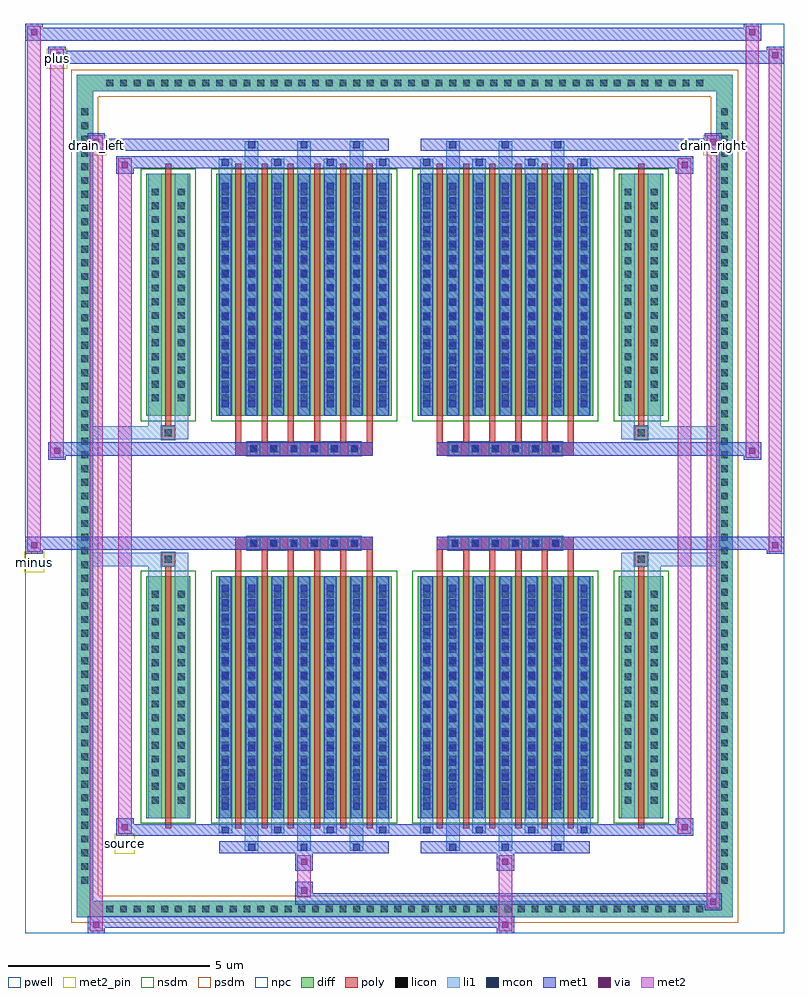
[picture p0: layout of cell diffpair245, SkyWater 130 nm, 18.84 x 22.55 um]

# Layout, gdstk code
import gdstk
lib = gdstk.Library(unit=1e-6, precision=5e-09)
def R(c, l, rs):  # rectangles x0, y0, x1, y1
    for r in rs: c.add(gdstk.rectangle(r[:2], r[2:], *l))
def A(c, l, x, y, w, h, nx, ny, dx, dy):  # array of equal rectangles
    R(c, l, [(x+i*dx, y+j*dy, x+i*dx+w, y+j*dy+h) for i in range(nx) for j in range(ny)])
def P(c, l, *ps):  # polygons
    for p in ps: c.add(gdstk.Polygon(p, *l))
pwell = (64, 44)
diff = (65, 20)
poly = (66, 20)
licon = (66, 44)
li1 = (67, 20)
mcon = (67, 44)
met1 = (68, 20)
via = (68, 44)
met2_pin = (69, 16)
met2 = (69, 20)
nsdm = (93, 44)
psdm = (94, 20)
npc = (95, 20)

diffpair245 = lib.new_cell('diffpair245')
R(diffpair245, pwell, [(-9.4,-10.84,9.4,11.71), (-6.72,-9.03,-0.01,-0.805), (0.01,-9.03,6.72,-0.805), (-6.72,0.805,-0.01,9.03), (0.01,0.805,6.72,9.03)])
A(diffpair245, diff, -7.515, -10.44, 0.41, 0.41, 44, 2, 0.34, 20.47)
A(diffpair245, diff, -8.13, -9.725, 0.41, 0.41, 1, 57, 0, 0.34)
A(diffpair245, diff, 7.72, -9.725, 0.41, 0.41, 1, 57, 0, 0.34)
R(diffpair245, diff, [(-7.515,-10.44,7.515,-10.03), (-8.13,-9.725,-7.72,9.725), (7.72,-9.725,8.13,9.725), (-6.41,-7.985,-5.31,-1.985), (-4.67,-7.985,-0.32,-1.985), (0.32,-7.985,4.67,-1.985), (5.31,-7.985,6.41,-1.985), (-6.41,1.985,-5.31,7.985), (-4.67,1.985,-0.32,7.985), (0.32,1.985,4.67,7.985), (5.31,1.985,6.41,7.985), (-7.515,10.03,7.515,10.44)])
P(diffpair245, diff, [(8.13,10.44),(-8.13,10.44),(-8.13,-10.03),(-7.72,-10.03),(-7.72,10.03),(7.72,10.03),(7.72,-10.03),(-7.72,-10.03),(-8.13,-10.03),(-8.13,-10.44),(8.13,-10.44)])
A(diffpair245, poly, -4.195, -8.235, 0.15, 6.5, 6, 2, 0.65, 9.97)
A(diffpair245, poly, 0.795, -8.235, 0.15, 6.5, 6, 2, 0.65, 9.97)
A(diffpair245, poly, -4.195, -1.735, 0.15, 0.4, 6, 2, 0.65, 3.07)
A(diffpair245, poly, 0.795, -1.735, 0.15, 0.4, 6, 2, 0.65, 3.07)
A(diffpair245, poly, -3.91, -1.335, 0.33, 0.33, 6, 2, 0.5, 2.34)
A(diffpair245, poly, 1.08, -1.335, 0.33, 0.33, 6, 2, 0.5, 2.34)
R(diffpair245, poly, [(-5.935,-8.235,-5.785,-1.735), (5.785,-8.235,5.935,-1.735), (-6.025,-1.735,-5.695,-1.405), (-6.025,-1.735,-5.695,-1.405), (5.695,-1.735,6.025,-1.405), (5.695,-1.735,6.025,-1.405), (-4.195,-1.335,-0.795,-1.005), (0.795,-1.335,4.195,-1.005), (-4.195,1.005,-0.795,1.335), (0.795,1.005,4.195,1.335), (-6.025,1.405,-5.695,1.735), (-6.025,1.405,-5.695,1.735), (5.695,1.405,6.025,1.735), (5.695,1.405,6.025,1.735), (-5.935,1.735,-5.785,8.235), (5.785,1.735,5.935,8.235)])
A(diffpair245, licon, -7.395, -10.32, 0.17, 0.17, 44, 2, 0.34, 20.47)
A(diffpair245, licon, -8.01, -9.605, 0.17, 0.17, 1, 57, 0, 0.34)
A(diffpair245, licon, 7.84, -9.605, 0.17, 0.17, 1, 57, 0, 0.34)
A(diffpair245, licon, -6.27, -7.62, 0.17, 0.17, 1, 16, 0, 0.34)
A(diffpair245, licon, -5.62, -7.62, 0.17, 0.17, 1, 16, 0, 0.34)
A(diffpair245, licon, -4.53, -7.62, 0.17, 0.17, 7, 16, 0.65, 0.34)
A(diffpair245, licon, 0.46, -7.62, 0.17, 0.17, 7, 16, 0.65, 0.34)
A(diffpair245, licon, 5.45, -7.62, 0.17, 0.17, 1, 16, 0, 0.34)
A(diffpair245, licon, 6.1, -7.62, 0.17, 0.17, 1, 16, 0, 0.34)
A(diffpair245, licon, -3.83, -1.255, 0.17, 0.17, 6, 2, 0.5, 2.34)
A(diffpair245, licon, 1.16, -1.255, 0.17, 0.17, 6, 2, 0.5, 2.34)
A(diffpair245, licon, -6.27, 2.35, 0.17, 0.17, 1, 16, 0, 0.34)
A(diffpair245, licon, -5.62, 2.35, 0.17, 0.17, 1, 16, 0, 0.34)
A(diffpair245, licon, -4.53, 2.35, 0.17, 0.17, 7, 16, 0.65, 0.34)
A(diffpair245, licon, 0.46, 2.35, 0.17, 0.17, 7, 16, 0.65, 0.34)
A(diffpair245, licon, 5.45, 2.35, 0.17, 0.17, 1, 16, 0, 0.34)
A(diffpair245, licon, 6.1, 2.35, 0.17, 0.17, 1, 16, 0, 0.34)
R(diffpair245, licon, [(-5.945,-1.655,-5.775,-1.485), (5.775,-1.655,5.945,-1.485), (-5.945,1.485,-5.775,1.655), (5.775,1.485,5.945,1.655)])
A(diffpair245, li1, -7.475, -10.4, 0.33, 0.33, 44, 2, 0.34, 20.47)
A(diffpair245, li1, -8.09, -9.685, 0.33, 0.33, 1, 57, 0, 0.34)
A(diffpair245, li1, 7.76, -9.685, 0.33, 0.33, 1, 57, 0, 0.34)
A(diffpair245, li1, -3.96, -8.79, 0.33, 0.805, 3, 2, 1.3, 16.775)
A(diffpair245, li1, -3.88, -8.79, 0.17, 0.17, 3, 2, 1.3, 17.41)
A(diffpair245, li1, 1.03, -8.79, 0.33, 0.805, 3, 2, 1.3, 16.775)
A(diffpair245, li1, 1.11, -8.79, 0.17, 0.17, 3, 2, 1.3, 17.41)
A(diffpair245, li1, -4.61, -8.36, 0.33, 0.375, 4, 2, 1.3, 16.345)
A(diffpair245, li1, -4.53, -8.36, 0.17, 0.17, 4, 2, 1.3, 16.55)
A(diffpair245, li1, 0.38, -8.36, 0.33, 0.375, 4, 2, 1.3, 16.345)
A(diffpair245, li1, 0.46, -8.36, 0.17, 0.17, 4, 2, 1.3, 16.55)
A(diffpair245, li1, -4.61, -7.985, 0.33, 6, 7, 2, 0.65, 9.97)
A(diffpair245, li1, 0.38, -7.985, 0.33, 6, 7, 2, 0.65, 9.97)
A(diffpair245, li1, -4.53, -7.77, 0.17, 0.17, 7, 16, 0.65, 0.36)
A(diffpair245, li1, -4.53, -7.77, 0.17, 5.57, 7, 2, 0.65, 9.97)
A(diffpair245, li1, 0.46, -7.77, 0.17, 0.17, 7, 16, 0.65, 0.36)
A(diffpair245, li1, 0.46, -7.77, 0.17, 5.57, 7, 2, 0.65, 9.97)
A(diffpair245, li1, -6.35, -7.7, 0.33, 0.33, 1, 16, 0, 0.34)
A(diffpair245, li1, -5.7, -7.7, 0.33, 0.33, 1, 16, 0, 0.34)
A(diffpair245, li1, -4.61, -7.7, 0.33, 0.33, 7, 16, 0.65, 0.34)
A(diffpair245, li1, 0.38, -7.7, 0.33, 0.33, 7, 16, 0.65, 0.34)
A(diffpair245, li1, 5.37, -7.7, 0.33, 0.33, 1, 16, 0, 0.34)
A(diffpair245, li1, 6.02, -7.7, 0.33, 0.33, 1, 16, 0, 0.34)
A(diffpair245, li1, -3.91, -1.335, 0.33, 0.33, 6, 2, 0.5, 2.34)
A(diffpair245, li1, 1.08, -1.335, 0.33, 0.33, 6, 2, 0.5, 2.34)
A(diffpair245, li1, -4.53, 2.2, 0.17, 0.17, 7, 16, 0.65, 0.36)
A(diffpair245, li1, 0.46, 2.2, 0.17, 0.17, 7, 16, 0.65, 0.36)
A(diffpair245, li1, -6.35, 2.27, 0.33, 0.33, 1, 16, 0, 0.34)
A(diffpair245, li1, -5.7, 2.27, 0.33, 0.33, 1, 16, 0, 0.34)
A(diffpair245, li1, -4.61, 2.27, 0.33, 0.33, 7, 16, 0.65, 0.34)
A(diffpair245, li1, 0.38, 2.27, 0.33, 0.33, 7, 16, 0.65, 0.34)
A(diffpair245, li1, 5.37, 2.27, 0.33, 0.33, 1, 16, 0, 0.34)
A(diffpair245, li1, 6.02, 2.27, 0.33, 0.33, 1, 16, 0, 0.34)
R(diffpair245, li1, [(-8.13,-10.44,-7.72,-10.03), (-8.13,-10.44,-7.72,-10.03), (-7.72,-10.44,7.72,-10.03), (7.72,-10.44,8.13,-10.03), (7.72,-10.44,8.13,-10.03), (-8.13,-10.03,-7.72,10.03), (7.72,-10.03,8.13,10.03), (-6.35,-7.985,-6.02,-1.985), (-5.7,-7.985,-5.37,-1.985), (5.37,-7.985,5.7,-1.985), (6.02,-7.985,6.35,-1.985), (-6.35,-1.985,-6.02,-1.405), (-5.7,-1.985,-5.37,-1.405), (5.37,-1.985,5.7,-1.405), (6.02,-1.985,6.35,-1.405), (-8.13,-1.735,-6.025,-1.405), (-6.35,-1.735,-6.025,-1.405), (-6.025,-1.735,-5.695,-1.405), (-5.695,-1.735,-5.37,-1.405), (5.37,-1.735,5.695,-1.405), (5.695,-1.735,6.025,-1.405), (5.695,-1.735,8.13,-1.405), (6.025,-1.735,6.35,-1.405), (-8.13,1.405,-6.025,1.735), (-6.35,1.405,-6.025,1.735), (-6.35,1.405,-6.02,1.985), (-6.025,1.405,-5.695,1.735), (-5.7,1.405,-5.37,1.985), (-5.695,1.405,-5.37,1.735), (5.37,1.405,5.695,1.735), (5.37,1.405,5.7,1.985), (5.695,1.405,6.025,1.735), (5.695,1.405,8.13,1.735), (6.02,1.405,6.35,1.985), (6.025,1.405,6.35,1.735), (-6.35,1.985,-6.02,7.985), (-5.7,1.985,-5.37,7.985), (5.37,1.985,5.7,7.985), (6.02,1.985,6.35,7.985), (-8.13,10.03,-7.72,10.44), (-8.13,10.03,-7.72,10.44), (-7.72,10.03,7.72,10.44), (7.72,10.03,8.13,10.44), (7.72,10.03,8.13,10.44)])
A(diffpair245, mcon, -3.88, -8.79, 0.17, 0.17, 3, 2, 1.3, 17.41)
A(diffpair245, mcon, 1.11, -8.79, 0.17, 0.17, 3, 2, 1.3, 17.41)
A(diffpair245, mcon, -4.53, -8.36, 0.17, 0.17, 4, 2, 1.3, 16.55)
A(diffpair245, mcon, 0.46, -8.36, 0.17, 0.17, 4, 2, 1.3, 16.55)
A(diffpair245, mcon, -4.53, -7.77, 0.17, 0.17, 7, 16, 0.65, 0.36)
A(diffpair245, mcon, 0.46, -7.77, 0.17, 0.17, 7, 16, 0.65, 0.36)
A(diffpair245, mcon, -3.83, -1.255, 0.17, 0.17, 6, 2, 0.5, 2.34)
A(diffpair245, mcon, 1.16, -1.255, 0.17, 0.17, 6, 2, 0.5, 2.34)
A(diffpair245, mcon, -4.53, 2.2, 0.17, 0.17, 7, 16, 0.65, 0.36)
A(diffpair245, mcon, 0.46, 2.2, 0.17, 0.17, 7, 16, 0.65, 0.36)
A(diffpair245, met1, -3.94, -8.85, 0.29, 0.29, 3, 2, 1.3, 17.41)
A(diffpair245, met1, 1.05, -8.85, 0.29, 0.29, 3, 2, 1.3, 17.41)
A(diffpair245, met1, -4.59, -8.42, 0.29, 0.29, 4, 2, 1.3, 16.55)
A(diffpair245, met1, 0.4, -8.42, 0.29, 0.29, 4, 2, 1.3, 16.55)
A(diffpair245, met1, -4.59, -7.985, 0.29, 6, 7, 2, 0.65, 9.97)
A(diffpair245, met1, 0.4, -7.985, 0.29, 6, 7, 2, 0.65, 9.97)
A(diffpair245, met1, -4.59, -7.83, 0.29, 0.29, 7, 16, 0.65, 0.36)
A(diffpair245, met1, 0.4, -7.83, 0.29, 0.29, 7, 16, 0.65, 0.36)
A(diffpair245, met1, -3.89, -1.315, 0.29, 0.29, 6, 2, 0.5, 2.34)
A(diffpair245, met1, 1.1, -1.315, 0.29, 0.29, 6, 2, 0.5, 2.34)
A(diffpair245, met1, -4.59, 2.14, 0.29, 0.29, 7, 16, 0.65, 0.36)
A(diffpair245, met1, 0.4, 2.14, 0.29, 0.29, 7, 16, 0.65, 0.36)
R(diffpair245, met1, [(-7.86,-10.84,-7.43,-10.41), (2.28,-10.84,2.71,-10.41), (-7.86,-10.7,2.71,-10.41), (7.43,-10.27,7.86,-9.84), (-2.71,-10.13,7.86,-9.84), (-2.71,-9.99,-2.28,-9.56), (-2.71,-9.28,-2.28,-8.85), (2.28,-9.28,2.71,-8.85), (-4.59,-8.85,-0.4,-8.56), (0.4,-8.85,4.59,-8.56), (-7.15,-8.42,-6.72,-7.99), (-7.15,-8.42,-4.59,-8.13), (-4.59,-8.42,-0.4,-8.13), (-0.4,-8.42,0.4,-8.13), (0.4,-8.42,4.59,-8.13), (4.59,-8.42,7.15,-8.13), (6.72,-8.42,7.15,-7.99), (-9.4,-1.435,-8.97,-1.005), (8.97,-1.435,9.4,-1.005), (-9.4,-1.335,-0.795,-1.005), (-4.195,-1.335,-0.795,-1.005), (0.795,-1.335,4.195,-1.005), (0.795,-1.335,9.4,-1.005), (-8.83,0.905,-8.4,1.335), (8.4,0.905,8.83,1.335), (-8.83,1.005,-4.195,1.335), (-4.195,1.005,-0.795,1.335), (0.795,1.005,4.195,1.335), (4.195,1.005,8.83,1.335), (-7.15,7.99,-6.72,8.42), (6.72,7.99,7.15,8.42), (-7.15,8.13,-4.59,8.42), (-4.59,8.13,-0.4,8.42), (-0.4,8.13,0.4,8.42), (0.4,8.13,4.59,8.42), (4.59,8.13,7.15,8.42), (-7.86,8.56,-7.43,8.99), (-7.86,8.56,-4.59,8.85), (-4.59,8.56,-0.4,8.85), (0.4,8.56,4.59,8.85), (4.59,8.56,7.86,8.85), (7.43,8.56,7.86,8.99), (-8.83,10.71,-8.4,11.14), (-8.83,10.71,-6.72,11.04), (-6.72,10.71,6.72,11.04), (6.72,10.71,9.4,11.04), (8.97,10.71,9.4,11.14), (-9.4,11.28,-8.97,11.71), (-9.4,11.28,-6.72,11.61), (-6.72,11.28,6.72,11.61), (6.72,11.28,8.83,11.61), (8.4,11.28,8.83,11.71)])
R(diffpair245, via, [(-7.72,-10.7,-7.57,-10.55), (2.42,-10.7,2.57,-10.55), (7.57,-10.13,7.72,-9.98), (-2.57,-9.85,-2.42,-9.7), (-2.57,-9.14,-2.42,-8.99), (2.42,-9.14,2.57,-8.99), (-7.01,-8.28,-6.86,-8.13), (6.86,-8.28,7.01,-8.13), (-9.26,-1.295,-9.11,-1.145), (9.11,-1.295,9.26,-1.145), (-8.69,1.045,-8.54,1.195), (8.54,1.045,8.69,1.195), (-7.01,8.13,-6.86,8.28), (6.86,8.13,7.01,8.28), (-7.72,8.7,-7.57,8.85), (7.57,8.7,7.72,8.85), (-8.69,10.85,-8.54,11), (9.11,10.85,9.26,11), (-9.26,11.42,-9.11,11.57), (8.54,11.42,8.69,11.57)])
R(diffpair245, met2_pin, [(-7.185,-8.87,-6.685,-8.37), (-9.435,-1.885,-8.935,-1.385), (-7.895,8.44,-7.395,8.94), (7.395,8.44,7.895,8.94), (-8.865,10.59,-8.365,11.09)])
R(diffpair245, met2, [(-7.81,-10.79,-7.48,-10.46), (-7.81,-10.79,-7.48,8.94), (2.33,-10.79,2.66,-10.46), (2.33,-10.46,2.66,-9.23), (7.48,-10.22,7.81,-9.89), (7.48,-10.22,7.81,8.94), (-2.66,-9.94,-2.33,-9.61), (-2.66,-9.61,-2.33,-9.23), (-2.66,-9.23,-2.33,-8.9), (2.33,-9.23,2.66,-8.9), (-7.1,-8.37,-6.77,-8.04), (-7.1,-8.37,-6.77,8.37), (6.77,-8.37,7.1,-8.04), (6.77,-8.37,7.1,8.37), (-9.35,-1.385,-9.02,-1.055), (-9.35,-1.385,-9.02,11.66), (9.02,-1.385,9.35,-1.055), (9.02,-1.385,9.35,11.09), (-8.78,0.955,-8.45,1.285), (-8.78,0.955,-8.45,11.09), (8.45,0.955,8.78,1.285), (8.45,0.955,8.78,11.66), (-7.1,8.04,-6.77,8.37), (6.77,8.04,7.1,8.37), (-7.81,8.61,-7.48,8.94), (7.48,8.61,7.81,8.94), (-8.78,10.76,-8.45,11.09), (9.02,10.76,9.35,11.09), (-9.35,11.33,-9.02,11.66), (8.45,11.33,8.78,11.66)])
P(diffpair245, met2, [(9.35,-1.385),(9.35,-1.385),(9.35,-1.055),(9.35,-1.055)],
  [(9.35,10.76),(9.35,10.76),(9.35,11.09),(9.35,11.09)],
  [(-9.02,-1.385),(-9.02,-1.385),(-9.02,-1.055),(-9.02,-1.055)],
  [(-9.02,11.33),(-9.02,11.33),(-9.02,11.66),(-9.02,11.66)],
  [(8.78,0.955),(8.78,0.955),(8.78,1.285),(8.78,1.285)],
  [(8.78,11.33),(8.78,11.33),(8.78,11.66),(8.78,11.66)],
  [(-8.45,0.955),(-8.45,0.955),(-8.45,1.285),(-8.45,1.285)],
  [(-8.45,10.76),(-8.45,10.76),(-8.45,11.09),(-8.45,11.09)],
  [(-7.48,-10.79),(-7.48,-10.79),(-7.48,-10.46),(-7.48,-10.46)],
  [(-7.48,8.61),(-7.48,8.61),(-7.48,8.94),(-7.48,8.94)],
  [(7.81,-10.22),(7.81,-10.22),(7.81,-9.89),(7.81,-9.89)],
  [(7.81,8.61),(7.81,8.61),(7.81,8.94),(7.81,8.94)],
  [(-6.77,-8.37),(-6.77,-8.37),(-6.77,-8.04),(-6.77,-8.04)],
  [(-6.77,8.04),(-6.77,8.04),(-6.77,8.37),(-6.77,8.37)],
  [(7.1,-8.37),(7.1,-8.37),(7.1,-8.04),(7.1,-8.04)],
  [(7.1,8.04),(7.1,8.04),(7.1,8.37),(7.1,8.37)])
R(diffpair245, nsdm, [(-6.54,-8.115,-5.18,-1.855), (-4.8,-8.115,-0.19,-1.855), (0.19,-8.115,4.8,-1.855), (5.18,-8.115,6.54,-1.855), (-6.54,1.855,-5.18,8.115), (-4.8,1.855,-0.19,8.115), (0.19,1.855,4.8,8.115), (5.18,1.855,6.54,8.115)])
P(diffpair245, psdm, [(8.26,10.57),(-8.26,10.57),(-8.26,-9.9),(-7.59,-9.9),(-7.59,9.9),(7.59,9.9),(7.59,-9.9),(-7.59,-9.9),(-8.26,-9.9),(-8.26,-10.57),(8.26,-10.57)])
A(diffpair245, npc, -3.93, -1.355, 0.37, 0.37, 6, 2, 0.5, 2.34)
A(diffpair245, npc, 1.06, -1.355, 0.37, 0.37, 6, 2, 0.5, 2.34)
R(diffpair245, npc, [(-6.045,-1.755,-5.675,-1.385), (5.675,-1.755,6.045,-1.385), (-3.93,-1.355,-3.06,-0.985), (-3.93,-1.355,-3.06,-0.985), (-3.43,-1.355,-2.56,-0.985), (-3.43,-1.355,-2.56,-0.985), (-2.93,-1.355,-2.06,-0.985), (-2.93,-1.355,-2.06,-0.985), (-2.43,-1.355,-1.56,-0.985), (-2.43,-1.355,-1.56,-0.985), (-1.93,-1.355,-1.06,-0.985), (-1.93,-1.355,-1.06,-0.985), (1.06,-1.355,1.93,-0.985), (1.06,-1.355,1.93,-0.985), (1.56,-1.355,2.43,-0.985), (1.56,-1.355,2.43,-0.985), (2.06,-1.355,2.93,-0.985), (2.06,-1.355,2.93,-0.985), (2.56,-1.355,3.43,-0.985), (2.56,-1.355,3.43,-0.985), (3.06,-1.355,3.93,-0.985), (3.06,-1.355,3.93,-0.985), (-3.93,0.985,-3.06,1.355), (-3.93,0.985,-3.06,1.355), (-3.43,0.985,-2.56,1.355), (-3.43,0.985,-2.56,1.355), (-2.93,0.985,-2.06,1.355), (-2.93,0.985,-2.06,1.355), (-2.43,0.985,-1.56,1.355), (-2.43,0.985,-1.56,1.355), (-1.93,0.985,-1.06,1.355), (-1.93,0.985,-1.06,1.355), (1.06,0.985,1.93,1.355), (1.06,0.985,1.93,1.355), (1.56,0.985,2.43,1.355), (1.56,0.985,2.43,1.355), (2.06,0.985,2.93,1.355), (2.06,0.985,2.93,1.355), (2.56,0.985,3.43,1.355), (2.56,0.985,3.43,1.355), (3.06,0.985,3.93,1.355), (3.06,0.985,3.93,1.355), (-6.045,1.385,-5.675,1.755), (5.675,1.385,6.045,1.755)])
diffpair245.add(gdstk.Label('minus', (-9.185,-1.635), layer=69, texttype=5))
diffpair245.add(gdstk.Label('drain_right', (7.645,8.69), layer=69, texttype=5))
diffpair245.add(gdstk.Label('drain_left', (-7.645,8.69), layer=69, texttype=5))
diffpair245.add(gdstk.Label('source', (-6.935,-8.62), layer=69, texttype=5))
diffpair245.add(gdstk.Label('plus', (-8.615,10.84), layer=69, texttype=5))

lib.write_gds('diffpair245.gds')
